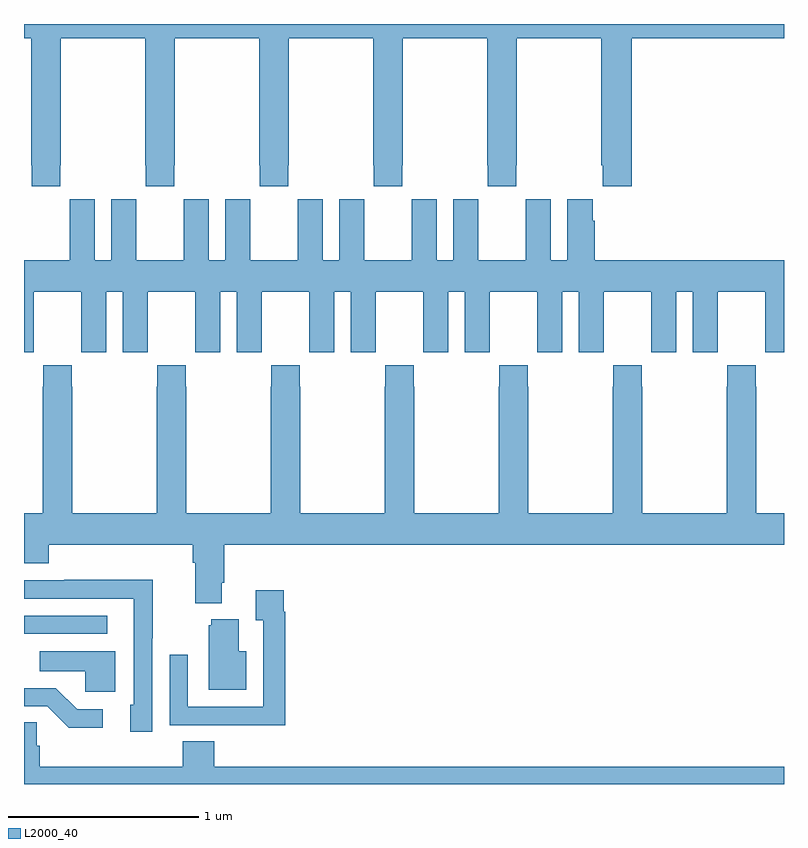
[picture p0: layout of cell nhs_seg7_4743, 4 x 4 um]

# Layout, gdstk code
import gdstk
lib = gdstk.Library(unit=1e-6, precision=1e-09)
def R(c, l, rs):  # rectangles x0, y0, x1, y1
    for r in rs: c.add(gdstk.rectangle(r[:2], r[2:], *l))
def P(c, l, *ps):  # polygons
    for p in ps: c.add(gdstk.Polygon(p, *l))
L2000_40 = (2000, 40)

nhs_seg7_4743 = lib.new_cell('nhs_seg7_4743')
R(nhs_seg7_4743, L2000_40, [(409,1022.79,409.438,1022.886)])
P(nhs_seg7_4743, L2000_40, [(409.191,1025.257),(409.194,1025.257),(409.194,1025.924),(409.639,1025.924),(409.639,1025.257),(409.641,1025.257),(409.641,1025.145),(409.791,1025.145),(409.791,1025.257),(409.794,1025.257),(409.794,1025.924),(410.239,1025.924),(410.239,1025.257),(410.241,1025.257),(410.241,1025.145),(410.391,1025.145),(410.391,1025.257),(410.394,1025.257),(410.394,1025.924),(410.839,1025.924),(410.839,1025.257),(410.841,1025.257),(410.841,1025.145),(410.991,1025.145),(410.991,1025.257),(410.994,1025.257),(410.994,1025.924),(411.439,1025.924),(411.439,1025.257),(411.441,1025.257),(411.441,1025.145),(411.591,1025.145),(411.591,1025.257),(411.594,1025.257),(411.594,1025.924),(412.039,1025.924),(412.039,1025.257),(412.045,1025.257),(412.045,1025.145),(412.199,1025.145),(412.199,1025.924),(413,1025.924),(413,1026),(409,1026),(409,1025.924),(409.039,1025.924),(409.039,1025.257),(409.041,1025.257),(409.041,1025.145),(409.191,1025.145)],
  [(412.004,1024.964),(411.994,1024.964),(411.994,1025.077),(411.86,1025.077),(411.86,1024.756),(411.772,1024.756),(411.772,1025.077),(411.642,1025.077),(411.642,1024.964),(411.641,1024.964),(411.641,1024.756),(411.391,1024.756),(411.391,1024.964),(411.39,1024.964),(411.39,1025.077),(411.26,1025.077),(411.26,1024.756),(411.172,1024.756),(411.172,1025.077),(411.042,1025.077),(411.042,1024.964),(411.041,1024.964),(411.041,1024.756),(410.791,1024.756),(410.791,1024.964),(410.79,1024.964),(410.79,1025.077),(410.66,1025.077),(410.66,1024.756),(410.572,1024.756),(410.572,1025.077),(410.442,1025.077),(410.442,1024.964),(410.441,1024.964),(410.441,1024.756),(410.191,1024.756),(410.191,1024.964),(410.19,1024.964),(410.19,1025.077),(410.06,1025.077),(410.06,1024.756),(409.972,1024.756),(409.972,1025.077),(409.842,1025.077),(409.842,1024.964),(409.841,1024.964),(409.841,1024.756),(409.591,1024.756),(409.591,1024.964),(409.59,1024.964),(409.59,1025.077),(409.46,1025.077),(409.46,1024.756),(409.372,1024.756),(409.372,1025.077),(409.242,1025.077),(409.242,1024.964),(409.241,1024.964),(409.241,1024.756),(409,1024.756),(409,1024.272),(409.05,1024.272),(409.05,1024.384),(409.051,1024.384),(409.051,1024.592),(409.301,1024.592),(409.301,1024.384),(409.302,1024.384),(409.302,1024.272),(409.432,1024.272),(409.432,1024.592),(409.52,1024.592),(409.52,1024.272),(409.65,1024.272),(409.65,1024.384),(409.651,1024.384),(409.651,1024.592),(409.901,1024.592),(409.901,1024.384),(409.902,1024.384),(409.902,1024.272),(410.032,1024.272),(410.032,1024.592),(410.12,1024.592),(410.12,1024.272),(410.25,1024.272),(410.25,1024.384),(410.251,1024.384),(410.251,1024.592),(410.501,1024.592),(410.501,1024.384),(410.502,1024.384),(410.502,1024.272),(410.632,1024.272),(410.632,1024.592),(410.72,1024.592),(410.72,1024.272),(410.85,1024.272),(410.85,1024.384),(410.851,1024.384),(410.851,1024.592),(411.101,1024.592),(411.101,1024.384),(411.102,1024.384),(411.102,1024.272),(411.232,1024.272),(411.232,1024.592),(411.32,1024.592),(411.32,1024.272),(411.45,1024.272),(411.45,1024.384),(411.451,1024.384),(411.451,1024.592),(411.701,1024.592),(411.701,1024.384),(411.702,1024.384),(411.702,1024.272),(411.832,1024.272),(411.832,1024.592),(411.92,1024.592),(411.92,1024.272),(412.05,1024.272),(412.05,1024.384),(412.051,1024.384),(412.051,1024.592),(412.301,1024.592),(412.301,1024.384),(412.302,1024.384),(412.302,1024.272),(412.432,1024.272),(412.432,1024.592),(412.52,1024.592),(412.52,1024.272),(412.65,1024.272),(412.65,1024.384),(412.651,1024.384),(412.651,1024.592),(412.901,1024.592),(412.901,1024.384),(412.902,1024.384),(412.902,1024.272),(413,1024.272),(413,1024.756),(412.004,1024.756)],
  [(413,1023.424),(412.854,1023.424),(412.854,1024.091),(412.851,1024.091),(412.851,1024.204),(412.701,1024.204),(412.701,1024.091),(412.699,1024.091),(412.699,1023.424),(412.254,1023.424),(412.254,1024.091),(412.251,1024.091),(412.251,1024.204),(412.101,1024.204),(412.101,1024.091),(412.099,1024.091),(412.099,1023.424),(411.654,1023.424),(411.654,1024.091),(411.651,1024.091),(411.651,1024.204),(411.501,1024.204),(411.501,1024.091),(411.499,1024.091),(411.499,1023.424),(411.054,1023.424),(411.054,1024.091),(411.051,1024.091),(411.051,1024.204),(410.901,1024.204),(410.901,1024.091),(410.899,1024.091),(410.899,1023.424),(410.454,1023.424),(410.454,1024.091),(410.451,1024.091),(410.451,1024.204),(410.301,1024.204),(410.301,1024.091),(410.299,1024.091),(410.299,1023.424),(409.854,1023.424),(409.854,1024.091),(409.851,1024.091),(409.851,1024.204),(409.701,1024.204),(409.701,1024.091),(409.699,1024.091),(409.699,1023.424),(409.254,1023.424),(409.254,1024.091),(409.251,1024.091),(409.251,1024.204),(409.101,1024.204),(409.101,1024.091),(409.099,1024.091),(409.099,1023.424),(409,1023.424),(409,1023.161),(409.13,1023.161),(409.13,1023.26),(409.889,1023.26),(409.889,1023.164),(409.901,1023.164),(409.901,1022.951),(410.041,1022.951),(410.041,1023.058),(410.054,1023.058),(410.054,1023.26),(413,1023.26)],
  [(409.674,1022.767),(409.677,1022.767),(409.677,1023.074),(409.213,1023.074),(409.213,1023.072),(409,1023.072),(409,1022.976),(409.577,1022.976),(409.577,1022.722),(409.578,1022.722),(409.578,1022.418),(409.559,1022.418),(409.559,1022.274),(409.674,1022.274)],
  [(410.375,1022.906),(410.368,1022.906),(410.368,1023.019),(410.219,1023.019),(410.219,1022.863),(410.259,1022.863),(410.259,1022.406),(409.863,1022.406),(409.863,1022.68),(409.767,1022.68),(409.767,1022.31),(410.083,1022.31),(410.083,1022.309),(410.375,1022.309)],
  [(410.17,1022.698),(410.131,1022.698),(410.131,1022.866),(409.985,1022.866),(409.985,1022.835),(409.973,1022.835),(409.973,1022.495),(410.17,1022.495)],
  [(409.48,1022.698),(409.084,1022.698),(409.084,1022.594),(409.323,1022.594),(409.323,1022.486),(409.48,1022.486)],
  [(409.414,1022.394),(409.279,1022.394),(409.168,1022.505),(409,1022.505),(409,1022.409),(409.122,1022.409),(409.235,1022.297),(409.414,1022.297)],
  [(413,1022.092),(410,1022.092),(410,1022.225),(409.835,1022.225),(409.835,1022.092),(409.082,1022.092),(409.082,1022.201),(409.068,1022.201),(409.068,1022.324),(409,1022.324),(409,1022),(413,1022)])

lib.write_gds('nhs_seg7_4743.gds')
